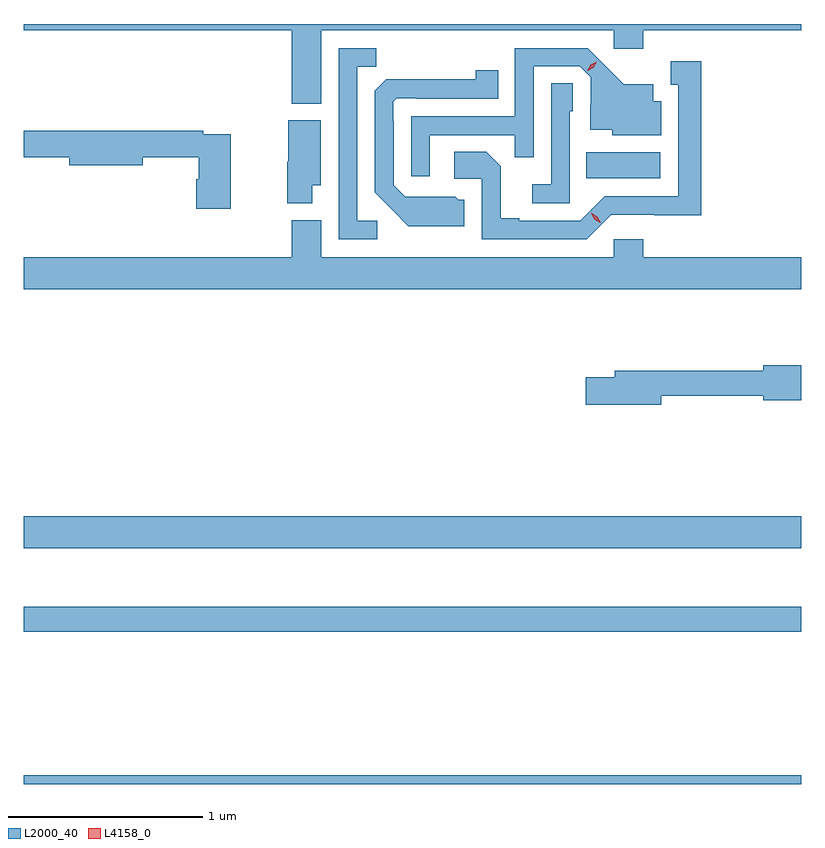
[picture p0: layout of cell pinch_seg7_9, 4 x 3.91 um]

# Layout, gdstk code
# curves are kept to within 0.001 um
import gdstk
lib = gdstk.Library(unit=1e-6, precision=1e-09)
def R(c, l, rs):  # rectangles x0, y0, x1, y1
    for r in rs: c.add(gdstk.rectangle(r[:2], r[2:], *l))
def P(c, l, *ps):  # polygons
    for p in ps: c.add(gdstk.Polygon(p, *l))
L2000_40 = (2000, 40)
L4158_0 = (4158, 0)

pinch_seg7_9 = lib.new_cell('pinch_seg7_9')
R(pinch_seg7_9, L2000_40, [(1029.8,1077.992,1033.8,1078.036), (1029.8,1078.774,1033.8,1078.903), (1029.8,1079.204,1033.8,1079.368), (1032.694,1081.106,1033.075,1081.24)])
P(pinch_seg7_9, L2000_40, [(1031.332,1081.868),(1032.834,1081.868),(1032.834,1081.773),(1032.986,1081.773),(1032.986,1081.868),(1033.8,1081.868),(1033.8,1081.9),(1029.8,1081.9),(1029.8,1081.868),(1031.18,1081.868),(1031.18,1081.49),(1031.332,1081.49)],
  [(1031.62,1080.888),(1031.517,1080.888),(1031.517,1081.681),(1031.613,1081.681),(1031.613,1081.776),(1031.421,1081.776),(1031.421,1080.792),(1031.62,1080.792)],
  [(1031.889,1081.329),(1032.325,1081.329),(1032.325,1081.216),(1032.423,1081.216),(1032.423,1081.683),(1032.66,1081.683),(1032.717,1081.626),(1032.717,1081.484),(1032.713,1081.484),(1032.713,1081.355),(1032.828,1081.355),(1032.828,1081.328),(1033.078,1081.328),(1033.078,1081.504),(1033.039,1081.504),(1033.039,1081.591),(1032.887,1081.591),(1032.7,1081.776),(1032.327,1081.776),(1032.327,1081.425),(1031.793,1081.425),(1031.793,1081.116),(1031.889,1081.116)],
  [(1032.822,1080.918),(1033.285,1080.917),(1033.285,1081.708),(1033.127,1081.708),(1033.127,1081.587),(1033.166,1081.587),(1033.166,1081.014),(1032.789,1081.014),(1032.663,1080.888),(1032.349,1080.888),(1032.349,1080.901),(1032.255,1080.901),(1032.255,1081.168),(1032.179,1081.244),(1032.015,1081.244),(1032.015,1081.104),(1032.156,1081.104),(1032.156,1080.792),(1032.696,1080.792)],
  [(1032.067,1080.996),(1032.036,1080.996),(1032.02,1081.012),(1031.763,1081.011),(1031.703,1081.071),(1031.703,1081.4),(1031.7,1081.4),(1031.7,1081.5),(1031.718,1081.518),(1031.818,1081.518),(1031.818,1081.515),(1032.242,1081.515),(1032.242,1081.663),(1032.124,1081.663),(1032.124,1081.616),(1031.666,1081.615),(1031.607,1081.556),(1031.607,1081.034),(1031.779,1080.86),(1032.067,1080.86)],
  [(1032.609,1081.452),(1032.624,1081.452),(1032.624,1081.595),(1032.513,1081.595),(1032.513,1081.075),(1032.417,1081.075),(1032.417,1080.978),(1032.609,1080.978)],
  [(1031.284,1081.07),(1031.329,1081.07),(1031.329,1081.405),(1031.162,1081.405),(1031.162,1081.191),(1031.155,1081.191),(1031.155,1080.977),(1031.284,1080.977)],
  [(1030.866,1081.332),(1030.724,1081.332),(1030.724,1081.352),(1029.8,1081.352),(1029.8,1081.216),(1030.034,1081.216),(1030.034,1081.174),(1030.414,1081.174),(1030.414,1081.216),(1030.7,1081.216),(1030.7,1081.101),(1030.688,1081.101),(1030.688,1080.951),(1030.866,1080.951)],
  [(1033.8,1080.7),(1032.986,1080.7),(1032.986,1080.793),(1032.834,1080.793),(1032.834,1080.7),(1031.332,1080.7),(1031.332,1080.892),(1031.18,1080.892),(1031.18,1080.7),(1029.8,1080.7),(1029.8,1080.536),(1033.8,1080.536)],
  [(1033.078,1079.989),(1033.604,1079.989),(1033.604,1079.966),(1033.8,1079.966),(1033.8,1080.144),(1033.604,1080.144),(1033.604,1080.118),(1032.839,1080.118),(1032.839,1080.084),(1032.69,1080.084),(1032.69,1079.942),(1033.078,1079.942)])
P(pinch_seg7_9, L4158_0, [(1032.766,1080.877),(1032.735,1080.897),(1032.718,1080.929),(1032.718,1080.929),(1032.718,1080.929),(1032.75,1080.91),(1032.767,1080.878),(1032.767,1080.877)],
  [(1032.699,1081.66),(1032.699,1081.66),(1032.717,1081.69),(1032.747,1081.705),(1032.747,1081.705),(1032.747,1081.705),(1032.73,1081.675),(1032.7,1081.66)])

lib.write_gds('pinch_seg7_9.gds')
